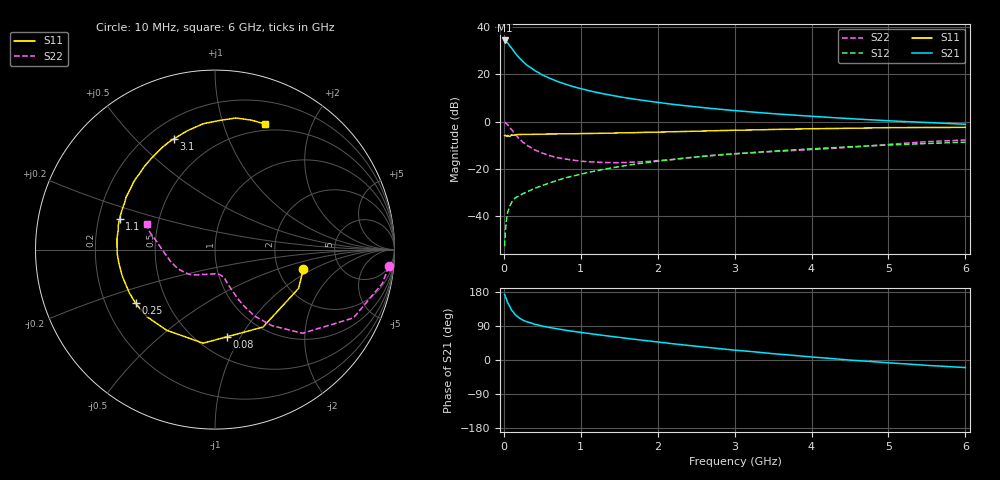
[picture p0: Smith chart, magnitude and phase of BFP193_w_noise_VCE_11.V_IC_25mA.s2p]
! Infineon Technologies  Discrete & RF Semiconductors
! BFP193
! VCE =  11. V,  IC =  25 mA
! Common Emitter S-Parameters:  Jan 2017
# GHz  S  MA  R  50
!  f  S11  S21  S12  S22
! GHz  MAG  ANG  MAG  ANG  MAG  ANG  MAG  ANG
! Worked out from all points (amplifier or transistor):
!   77 points, 10 MHz to 6 GHz, reference 50 ohm
!   highest |S21| = 34.3 dB at 10 MHz (marker M1)
!   |S21| within 3 dB of that: start of sweep to 94.2 MHz
!   unconditionally stable (mu >= 1): 842.5 MHz to 2.49 GHz
!   at 130 MHz: K = 0.41, MSG = 31.4 dB, |S12| = -33.0 dB
!   at 2.2 GHz: K = 1.02, MAG = 10.9 dB, |S12| = -16.1 dB
!   at 6 GHz: K = 0.89, MSG = 3.8 dB, |S12| = -8.7 dB
!   lowest NFmin = 1.12 dB at 450 MHz
!   S11 on the Smith chart (normalised r, x): 10 MHz: 2.77, -0.80; 80 MHz: 0.69, -0.88; 250 MHz: 0.33, -0.28; 1.1 GHz: 0.29, +0.15; 3.1 GHz: 0.30, +0.65; 6 GHz: 0.43, +1.39
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0.01  0.5039 -12.3  52.02 173.1  0.0023 77.2  0.9718 -5.5
0.02  0.5134 -24.9  51.52 167.3  0.0048 78.9  0.952 -11.4
0.05  0.5076 -58.2  46.02 150.9  0.0121 67.6  0.8599 -26.3
0.08  0.49 -82.1  39.37 140.4  0.0164 61.4  0.7402 -35.7
0.1  0.5255 -97.2  35.89 131.4  0.0194 58.8  0.6747 -43.7
0.15  0.5241 -120.9  27.74 119.0  0.0243 53.3  0.5279 -53.3
0.2  0.5327 -135.5  22.28 111.0  0.0268 53.4  0.431 -59.2
0.25  0.5339 -146.0  18.44 104.9  0.0298 52.2  0.363 -62.3
0.3  0.5347 -153.2  15.64 100.8  0.0323 53.9  0.3136 -64.6
0.4  0.5373 -163.8  12.04 94.3  0.0384 56.4  0.2515 -67.1
0.5  0.5408 -171.6  9.722 89.5  0.0441 58.6  0.2145 -68.9
0.6  0.5452 -177.6  8.179 85.5  0.0506 59.6  0.1889 -70.5
0.7  0.5463 177.9  7.03 82.1  0.057 61.5  0.1716 -71.4
0.9  0.5495 169.3  5.492 75.7  0.0702 61.8  0.1525 -75.1
1.1  0.5589 162.0  4.531 70.2  0.0839 61.7  0.1411 -79.5
1.5  0.5749 149.6  3.352 59.7  0.1109 59.7  0.1348 -92.5
2.1  0.6017 132.6  2.424 45.3  0.1511 54.1  0.1527 -115.1
2.6  0.63 120.8  1.962 34.2  0.1834 48.7  0.1847 -130.9
3.1  0.6579 110.5  1.653 24.3  0.2128 43.4  0.2123 -143.7
4.1  0.7069 93.8  1.262 6.4  0.2699 32.6  0.2607 -167.5
5.1  0.7429 79.7  1.019 -8.7  0.3229 21.4  0.3365 170.6
6  0.7531 68.3  0.876 -20.0  0.3662 11.4  0.4065 159.8
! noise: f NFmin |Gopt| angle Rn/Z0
0.45  1.12  0.3  -176  0.36
0.9  1.19  0.37  -175  0.07
1.9  1.81  0.57  -138  0.16
2.4  2.15  0.62  -122  0.35
